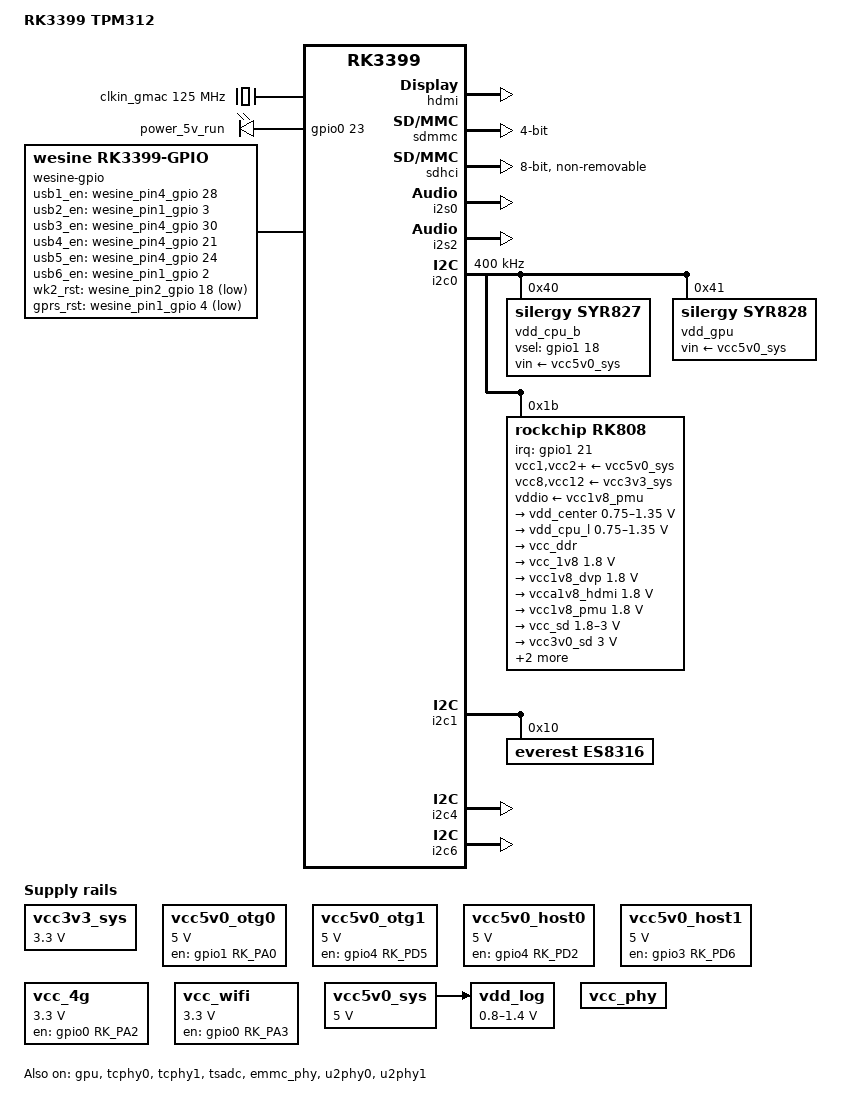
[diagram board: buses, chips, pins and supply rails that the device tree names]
/**
GPIOs 0-31, platform/pinctrl, gpio0:
 gpio-2   (                    |vcc_4g              ) out hi    
 gpio-3   (                    |vcc_wifi            ) out hi    
 gpio-5   (                    |power               ) in  hi    

GPIOs 32-63, platform/pinctrl, gpio1:
 gpio-32  (                    |vcc5v0_otg0         ) out hi    
 gpio-46  (                    |vsel                ) out lo    
 gpio-49  (                    |vsel                ) out lo    
 gpio-55  (                    |?                   ) out hi    

GPIOs 64-95, platform/pinctrl, gpio2:
 gpio-69  (                    |vcc_mipi            ) out hi    
 gpio-70  (                    |enable              ) out hi    

GPIOs 96-127, platform/pinctrl, gpio3:
 gpio-125 (                    |vcc5v0_sys          ) out hi    
 gpio-126 (                    |vcc5v0_host1        ) out hi    

GPIOs 128-159, platform/pinctrl, gpio4:
 gpio-153 (                    |?                   ) out lo    
 gpio-154 (                    |vcc5v0_host0        ) out hi    
 gpio-155 (                    |enable              ) out hi    
 gpio-157 (                    |vcc5v0_otg1         ) out hi
**/

/dts-v1/;
#include <dt-bindings/input/linux-event-codes.h>
#include <dt-bindings/pwm/pwm.h>
#include <dt-bindings/input/input.h>
#include <dt-bindings/interrupt-controller/irq.h>
#include "rk3399.dtsi"
#include "rk3399-opp.dtsi"

/ {
	model = "RK3399 TPM312";
	compatible = "rk3399,tpm312","rockchip,rk3399";

	aliases {
		ethernet0 = &gmac;
		mmc0 = &sdhci;
		mmc1 = &sdmmc;
	};

	chosen {
		bootargs = "earlycon=uart8250,mmio32,0xff1a0000 swiotlb=1";
		stdout-path = "serial2:1500000n8";
	};

	fiq_debugger: fiq-debugger {
		compatible = "rockchip,fiq-debugger";
		rockchip,serial-id = <2>;
		rockchip,wake-irq = <0>;
		rockchip,irq-mode-enable = <0>;  /* If enable uart uses irq instead of fiq */
		rockchip,baudrate = <1500000>;  /* Only 115200 and 1500000 */
		pinctrl-names = "default";
		pinctrl-0 = <&uart2c_xfer>;
		interrupts = <GIC_SPI 150 IRQ_TYPE_LEVEL_HIGH 0>;
	};

	vcc3v3_sys: vcc3v3-sys {
		compatible = "regulator-fixed";
		regulator-name = "vcc3v3_sys";
		regulator-always-on;
		regulator-boot-on;
		regulator-min-microvolt = <3300000>;
		regulator-max-microvolt = <3300000>;
	};

	vcc5v0_otg0: vcc5v0-otg0-regulator {
		compatible = "regulator-fixed";
		enable-active-high;
		gpio = <&gpio1 RK_PA0 GPIO_ACTIVE_HIGH>;
		pinctrl-names = "default";
		pinctrl-0 = <&otg0_vbus_drv>;
		regulator-name = "vcc5v0_otg0";
		regulator-always-on;
		regulator-min-microvolt = <5000000>;
		regulator-max-microvolt = <5000000>;
	};

	vcc5v0_otg1: vcc5v0-otg1-regulator {
		compatible = "regulator-fixed";
		enable-active-high;
		gpio = <&gpio4 RK_PD5 GPIO_ACTIVE_HIGH>;
		pinctrl-names = "default";
		pinctrl-0 = <&otg1_vbus_drv>;
		regulator-name = "vcc5v0_otg1";
		regulator-always-on;
		regulator-min-microvolt = <5000000>;
		regulator-max-microvolt = <5000000>;
	};

	vcc5v0_host0: vcc5v0-host0-regulator {
		compatible = "regulator-fixed";
		enable-active-high;
		gpio = <&gpio4 RK_PD2 GPIO_ACTIVE_HIGH>;
		pinctrl-names = "default";
		pinctrl-0 = <&host0_vbus_drv>;
		regulator-name = "vcc5v0_host0";
		regulator-always-on;
		regulator-min-microvolt = <5000000>;
		regulator-max-microvolt = <5000000>;
	};

	vcc5v0_host1: vcc5v0-host1-regulator {
		compatible = "regulator-fixed";
		enable-active-high;
		gpio = <&gpio3 RK_PD6 GPIO_ACTIVE_HIGH>;
		pinctrl-names = "default";
		pinctrl-0 = <&host1_vbus_drv>;
		regulator-name = "vcc5v0_host1";
		regulator-always-on;
		regulator-min-microvolt = <5000000>;
		regulator-max-microvolt = <5000000>;
	};

	vcc_4g: vcc-4g {
		compatible = "regulator-fixed";
		enable-active-high;
		gpio = <&gpio0 RK_PA2 GPIO_ACTIVE_HIGH>;
		pinctrl-names = "default";
		pinctrl-0 = <&vcc_4g_gpio>;
		regulator-name = "vcc_4g";
		regulator-always-on;
		regulator-boot-on;
		regulator-min-microvolt = <3300000>;
		regulator-max-microvolt = <3300000>;
	};

	vcc_wifi: vcc-wifi {
		compatible = "regulator-fixed";
		enable-active-high;
		gpio = <&gpio0 RK_PA3 GPIO_ACTIVE_HIGH>;
		pinctrl-names = "default";
		pinctrl-0 = <&wifi_pwr_gpio>;
		regulator-name = "vcc_wifi";
		regulator-always-on;
		regulator-min-microvolt = <3300000>;
		regulator-max-microvolt = <3300000>;
	};

	vcc5v0_sys: vcc5v0-sys {
		compatible = "regulator-fixed";
		regulator-name = "vcc5v0_sys";
		regulator-always-on;
		regulator-boot-on;
		regulator-min-microvolt = <5000000>;
		regulator-max-microvolt = <5000000>;
	};

	vcc_phy: vcc-phy-regulator {
		compatible = "regulator-fixed";
		regulator-name = "vcc_phy";
		regulator-always-on;
		regulator-boot-on;
	};

	vdd_log: vdd-log {
		compatible = "pwm-regulator";
		pwms = <&pwm2 0 25000 1>;
		regulator-name = "vdd_log";
		regulator-min-microvolt = <800000>;
		regulator-max-microvolt = <1400000>;
		regulator-always-on;
		regulator-boot-on;

		/* for rockchip boot on */
		rockchip,pwm_id= <2>;
		rockchip,pwm_voltage = <900000>;
		vin-supply = <&vcc5v0_sys>;
	};

	clkin_gmac: external-gmac-clock {
		compatible = "fixed-clock";
		clock-frequency = <125000000>;
		clock-output-names = "clkin_gmac";
		#clock-cells = <0>;
	};

	es8316-sound {
		compatible = "simple-audio-card";
		simple-audio-card,format = "i2s";
		simple-audio-card,name = "rockchip,es8316-codec";
		simple-audio-card,mclk-fs = <256>;
		simple-audio-card,widgets =
			"Microphone", "Mic Jack",
			"Headphone", "Headphone Jack";
		simple-audio-card,routing =
			"Mic Jack", "MICBIAS1",
			"IN1P", "Mic Jack",
			"Headphone Jack", "HPOL",
			"Headphone Jack", "HPOR";
		simple-audio-card,cpu {
			sound-dai = <&i2s0>;
		};
		simple-audio-card,codec {
			sound-dai = <&es8316>;
		};
	};

	hdmi_codec: hdmi-codec {
		compatible = "simple-audio-card";
		simple-audio-card,format = "i2s";
		simple-audio-card,mclk-fs = <256>;
		simple-audio-card,name = "HDMI-CODEC";

		simple-audio-card,cpu {
			sound-dai = <&i2s2>;
		};

		simple-audio-card,codec {
			sound-dai = <&hdmi>;
		};
	};

	leds {
		compatible = "gpio-leds";
		power5v-led {
			gpios = <&gpio0 23 GPIO_ACTIVE_HIGH>;
			default-state = "on";
			label = "power_5v_run";
		};
	};

	wesine-gpio {
		compatible = "wesine,rk3399-gpio";
		pinctrl-names = "default";
		pinctrl-0 = <&wesine_pin1_gpio &wesine_pin2_gpio &wesine_pin4_gpio>;
		usb1_en = <&wesine_pin4_gpio 28 GPIO_ACTIVE_HIGH>;
		usb2_en = <&wesine_pin1_gpio 3 GPIO_ACTIVE_HIGH>;
		usb3_en = <&wesine_pin4_gpio 30 GPIO_ACTIVE_HIGH>;
		usb4_en = <&wesine_pin4_gpio 21 GPIO_ACTIVE_HIGH>;
		usb5_en = <&wesine_pin4_gpio 24 GPIO_ACTIVE_HIGH>;
		usb6_en = <&wesine_pin1_gpio 2 GPIO_ACTIVE_HIGH>;
		wk2_rst = <&wesine_pin2_gpio 18 GPIO_ACTIVE_LOW>;
		gprs_rst = <&wesine_pin1_gpio 4 GPIO_ACTIVE_LOW>;
		status = "okay";
	};

};

&hdmi {
	#address-cells = <1>;
	#size-cells = <0>;
	#sound-dai-cells = <0>;
	status = "okay";
};

&sdmmc {
	max-frequency = <150000000>;
	supports-sd;
	bus-width = <4>;
	cap-mmc-highspeed;
	cap-sd-highspeed;
	disable-wp;
	num-slots = <1>;
	vqmmc-supply = <&vcc_sd>;
	pinctrl-names = "default";
	pinctrl-0 = <&sdmmc_clk &sdmmc_cmd &sdmmc_cd &sdmmc_bus4>;
	status = "okay";
};

&sdhci {
	bus-width = <8>;
	mmc-hs400-1_8v;
	mmc-hs400-enhanced-strobe;
	supports-emmc;
	non-removable;
	status = "okay";
};

&i2s0 {
	status = "okay";
	rockchip,i2s-broken-burst-len;
	rockchip,playback-channels = <8>;
	rockchip,capture-channels = <8>;
	#sound-dai-cells = <0>;
};

&i2s2 {
	status = "okay";
	#sound-dai-cells = <0>;
};

&i2c0 {
	status = "okay";
	i2c-scl-rising-time-ns = <168>;
	i2c-scl-falling-time-ns = <4>;
	clock-frequency = <400000>;

	vdd_cpu_b: syr827@40 {
		compatible = "silergy,syr827";
		reg = <0x40>;
		vin-supply = <&vcc5v0_sys>;
		regulator-compatible = "fan53555-reg";
		regulator-name = "vdd_cpu_b";
		regulator-min-microvolt = <712500>;
		regulator-max-microvolt = <1500000>;
		regulator-ramp-delay = <1000>;
		vsel-gpios = <&gpio1 18 GPIO_ACTIVE_HIGH>;
		fcs,suspend-voltage-selector = <1>;
		regulator-always-on;
		regulator-boot-on;
		regulator-initial-state = <3>;
			regulator-state-mem {
			regulator-off-in-suspend;
		};
	};

	vdd_gpu: syr828@41 {
		compatible = "silergy,syr828";
		reg = <0x41>;
		vin-supply = <&vcc5v0_sys>;
		regulator-compatible = "fan53555-reg";
		regulator-name = "vdd_gpu";
		regulator-min-microvolt = <712500>;
		regulator-max-microvolt = <1500000>;
		regulator-ramp-delay = <1000>;
		fcs,suspend-voltage-selector = <1>;
		regulator-always-on;
		regulator-boot-on;
		regulator-initial-state = <3>;
			regulator-state-mem {
			regulator-off-in-suspend;
		};
	};

	rk808: pmic@1b {
		compatible = "rockchip,rk808";
		reg = <0x1b>;
		interrupt-parent = <&gpio1>;
		interrupts = <21 IRQ_TYPE_LEVEL_LOW>;
		pinctrl-names = "default";
		pinctrl-0 = <&pmic_int_l>;
		rockchip,system-power-controller;
		wakeup-source;
		#clock-cells = <1>;
		clock-output-names = "xin32k", "rk808-clkout2";

		vcc1-supply = <&vcc5v0_sys>;
		vcc2-supply = <&vcc5v0_sys>;
		vcc3-supply = <&vcc5v0_sys>;
		vcc4-supply = <&vcc5v0_sys>;
		vcc6-supply = <&vcc5v0_sys>;
		vcc7-supply = <&vcc5v0_sys>;
		vcc8-supply = <&vcc3v3_sys>;
		vcc9-supply = <&vcc5v0_sys>;
		vcc10-supply = <&vcc5v0_sys>;
		vcc11-supply = <&vcc5v0_sys>;
		vcc12-supply = <&vcc3v3_sys>;
		vddio-supply = <&vcc1v8_pmu>;

		regulators {
			vdd_center: DCDC_REG1 {
				regulator-name = "vdd_center";
				regulator-min-microvolt = <750000>;
				regulator-max-microvolt = <1350000>;
				regulator-ramp-delay = <6001>;
				regulator-always-on;
				regulator-boot-on;
				regulator-state-mem {
					regulator-off-in-suspend;
				};
			};

			vdd_cpu_l: DCDC_REG2 {
				regulator-name = "vdd_cpu_l";
				regulator-min-microvolt = <750000>;
				regulator-max-microvolt = <1350000>;
				regulator-ramp-delay = <6001>;
				regulator-always-on;
				regulator-boot-on;
				regulator-state-mem {
					regulator-off-in-suspend;
				};
			};

			vcc_ddr: DCDC_REG3 {
				regulator-name = "vcc_ddr";
				regulator-always-on;
				regulator-boot-on;
				regulator-state-mem {
					regulator-on-in-suspend;
				};
			};

			vcc_1v8: DCDC_REG4 {
				regulator-name = "vcc_1v8";
				regulator-min-microvolt = <1800000>;
				regulator-max-microvolt = <1800000>;
				regulator-always-on;
				regulator-boot-on;
				regulator-state-mem {
					regulator-on-in-suspend;
					regulator-suspend-microvolt = <1800000>;
				};
			};

			vcc1v8_dvp: LDO_REG1 {
				regulator-name = "vcc1v8_codec";
				regulator-min-microvolt = <1800000>;
				regulator-max-microvolt = <1800000>;
				regulator-always-on;
				regulator-boot-on;
				regulator-state-mem {
					regulator-on-in-suspend;
					regulator-suspend-microvolt = <1800000>;
				};
			};

			vcca1v8_hdmi: LDO_REG2 {
				regulator-name = "vcca1v8_hdmi";
				regulator-min-microvolt = <1800000>;
				regulator-max-microvolt = <1800000>;
				regulator-always-on;
				regulator-boot-on;
				regulator-state-mem {
					regulator-on-in-suspend;
					regulator-suspend-microvolt = <1800000>;
				};
			};

			vcc1v8_pmu: LDO_REG3 {
				regulator-always-on;
				regulator-boot-on;
				regulator-min-microvolt = <1800000>;
				regulator-max-microvolt = <1800000>;
				regulator-name = "vcc1v8_pmu";
				regulator-state-mem {
					regulator-on-in-suspend;
					regulator-suspend-microvolt = <1800000>;
				};
			};

			vcc_sd: LDO_REG4 {
				regulator-name = "vcc_sd";
				regulator-min-microvolt = <1800000>;
				regulator-max-microvolt = <3000000>;
				regulator-always-on;
				regulator-boot-on;
				regulator-state-mem {
					regulator-on-in-suspend;
					regulator-suspend-microvolt = <3000000>;
				};
			};

			vcc3v0_sd: LDO_REG5 {
				regulator-name = "vcc3v0_sd";
				regulator-min-microvolt = <3000000>;
				regulator-max-microvolt = <3000000>;
				regulator-always-on;
				regulator-boot-on;
				regulator-state-mem {
					regulator-on-in-suspend;
					regulator-suspend-microvolt = <3000000>;
				};
			};

			vcc_1v5: LDO_REG6 {
				regulator-name = "vcc_1v5";
				regulator-min-microvolt = <1500000>;
				regulator-max-microvolt = <1500000>;
				regulator-always-on;
				regulator-boot-on;
				regulator-state-mem {
					regulator-on-in-suspend;
					regulator-suspend-microvolt = <1500000>;
				};
			};

			vcca0v9_hdmi: LDO_REG7 {
				regulator-name = "vcca0v9_hdmi";
				regulator-min-microvolt = <900000>;
				regulator-max-microvolt = <900000>;
				regulator-always-on;
				regulator-boot-on;
				regulator-state-mem {
					regulator-on-in-suspend;
					regulator-suspend-microvolt = <900000>;
				};
			};

			vcc_3v0: LDO_REG8 {
				regulator-name = "vcc_3v0";
				regulator-min-microvolt = <3000000>;
				regulator-max-microvolt = <3000000>;
				regulator-always-on;
				regulator-boot-on;
				regulator-state-mem {
					regulator-on-in-suspend;
					regulator-suspend-microvolt = <3000000>;
				};
			};

			vcc3v3_s3: SWITCH_REG1 {
				regulator-name = "vcc3v3_s3";
				regulator-always-on;
				regulator-boot-on;
				regulator-state-mem {
					regulator-on-in-suspend;
				};
			};

			vcc3v3_s0: SWITCH_REG2 {
				regulator-name = "vcc3v3_s0";
				regulator-always-on;
				regulator-boot-on;
				regulator-state-mem {
					regulator-on-in-suspend;
				};
			};
		};
	};
};

&i2c1 {
	status = "okay";
	i2c-scl-rising-time-ns = <300>;
	i2c-scl-falling-time-ns = <15>;

	es8316: es8316@10 {
		compatible = "everest,es8316";
		reg = <0x10>;
		clocks = <&cru SCLK_I2S_8CH_OUT>;
		clock-names = "mclk";
		pinctrl-names = "default";
		#sound-dai-cells = <0>;
	};

};

&i2c4 {
	status = "okay";
	i2c-scl-rising-time-ns = <600>;
	i2c-scl-falling-time-ns = <20>;

	mpu6050: mpu@68 {
	status = "disabled";
	compatible = "invensense,mpu6050";
	reg = <0x68>;
	mpu-int_config = <0x10>;
	mpu-level_shifter = <0>;
	mpu-orientation = <0 1 0 1 0 0 0 0 1>;
	orientation-x= <1>;
	orientation-y= <1>;
	orientation-z= <1>;
	irq-gpio = <&gpio1 10 IRQ_TYPE_LEVEL_LOW>;
	mpu-debug = <1>;
	};
};

&i2c6 {
	status = "okay";
};

&i2c8 {
	status = "disabled";
	//pinctrl-names = "default";
	//pinctrl-0 = <0x7e>;

	ilitek@41 {
			compatible = "tchip,ilitek";
			reg = <0x41>;
			vdd-supply = <0x7f>;
			vcc_i2c-supply = <0x34>;
			ilitek,irq-gpio = <0x30 18 GPIO_ACTIVE_HIGH>;
			ilitek,reset-gpio = <0x30 24 GPIO_ACTIVE_HIGH>;
			ilitek,vbus = "vcc_i2c";
			ilitek,vdd = "vdd";
			ilitek,name = "ilitek_i2c";
		};
};

&spi1 {
	status = "disabled";
	max-freq = <48000000>;
	dev-port = <0>;
	//pinctrl-0 = <&spi1m2_pins>;
	num-cs = <1>;

	spi_wk2xxx: spi_wk2xxx@00{
		status = "disabled";
		compatible = "wesine,wk2124spi";
		reg = <0x00>;
		poll_mode = <0x00>;
		type = <0x00>;
		enable_dma = <0x00>;
		spi-max-frequency = <10000000>;
		irq-gpio = <&gpio3 RK_PD4 IRQ_TYPE_EDGE_FALLING>;
		pinctrl-0 = <&wk2_irq>;
		pinctrl-names = "default";
	};
};

&cpu_l0 {
	cpu-supply = <&vdd_cpu_l>;
};

&cpu_l1 {
	cpu-supply = <&vdd_cpu_l>;
};

&cpu_l2 {
	cpu-supply = <&vdd_cpu_l>;
};

&cpu_l3 {
	cpu-supply = <&vdd_cpu_l>;
};

&cpu_b0 {
	cpu-supply = <&vdd_cpu_b>;
};

&cpu_b1 {
	cpu-supply = <&vdd_cpu_b>;
};

&gpu {
	status = "okay";
	mali-supply = <&vdd_gpu>;
};

&tcphy0 {
	status = "okay";
};

&tcphy1 {
	status = "okay";
};

&tsadc {
	/* tshut mode 0:CRU 1:GPIO */
	rockchip,hw-tshut-mode = <1>;
	/* tshut polarity 0:LOW 1:HIGH */
	rockchip,hw-tshut-polarity = <1>;
	status = "okay";
};

&emmc_phy {
	status = "okay";
};

&u2phy0 {
	status = "okay";
	enable-active-high;
	/* otg-vbus-gpios = <&gpio1 3 GPIO_ACTIVE_HIGH>;*/
	gpio = <&gpio1 3 GPIO_ACTIVE_HIGH>;

	u2phy0_otg: otg-port {
	    phy-supply = <&vcc5v0_otg0>;
		status = "okay";
	};

	u2phy0_host: host-port {
		phy-supply = <&vcc5v0_host0>;
		status = "okay";
	};
};

&u2phy1 {
	status = "okay";

	u2phy1_otg: otg-port {
	    phy-supply = <&vcc5v0_otg1>;
		status = "okay";
	};

	u2phy1_host: host-port {
		phy-supply = <&vcc5v0_host1>;
		status = "okay";
	};
};

&uart0 {
	pinctrl-names = "default";
	pinctrl-0 = <&uart0_xfer &uart0_cts &uart0_rts>;
	status = "disabled;
};

&uart1 {
	status = "disabled";
};

&uart2 {
	status = "disabled";
};

&usb_host0_ehci {
	status = "okay";
};

&usb_host0_ohci {
	status = "okay";
};

&usb_host1_ehci {
	status = "okay";
};

&usb_host1_ohci {
	status = "okay";
};

&usbdrd3_0 {
	extcon = <&u2phy0>;
	status = "okay";
};

&usbdrd_dwc3_0 {
	dr_mode = "otg";
	status = "okay";
};

&usbdrd3_1 {
	status = "okay";
};

&usbdrd_dwc3_1 {
	dr_mode = "host";
	status = "okay";
};

&pwm0 {
	status = "okay";
};

&pwm1 {
	status = "okay";
};

&pwm2 {
	status = "okay";
};

&pwm3 {
	status = "okay";
};

&gmac {
	status = "okay";
	assigned-clocks = <&cru SCLK_RMII_SRC>;
	assigned-clock-parents = <&clkin_gmac>;
	clock_in_out = "input";
	phy-supply = <&vcc_phy>;
	phy-mode = "rgmii";
	pinctrl-names = "default";
	pinctrl-0 = <&rgmii_pins>;
	pinctrl-1 = <&rgmii_sleep_pins>;
	snps,reset-gpio = <&gpio3 RK_PB7 GPIO_ACTIVE_LOW>;
	snps,reset-active-low;
	snps,reset-delays-us = <0 10000 50000>;
	tx_delay = <0x28>;
	rx_delay = <0x11>;
};

&saradc {
	status = "okay";
};

&io_domains {
	status = "okay";
	bt656-supply = <&vcc_3v0>; /* bt656_gpio2ab_ms */
	audio-supply = <&vcc_3v0>; /* audio_gpio3d4a_ms */
	sdmmc-supply = <&vcc_sd>; /* sdmmc_gpio4b_ms */
	gpio1830-supply = <&vcc_3v0>; /* gpio1833_gpio4cd_ms */
};

&pmu_io_domains {
	status = "okay";
	pmu1830-supply = <&vcc_3v0>;
};

&iep_mmu {
	status = "okay";
};

&rga {
	dev_mode = <0x01>;
	status = "okay";
};

&pinctrl {
	pmic {
		pmic_int_l: pmic-int-l {
			rockchip,pins = <1 21 RK_FUNC_GPIO &pcfg_pull_up>;
		};
		pmic_dvs2: pmic-dvs2 {
			rockchip,pins = <1 4 RK_FUNC_GPIO &pcfg_pull_down>;
		};
		vcc5sys_gpio: vcc5sys-gpio {
			rockchip,pins = <3 29 RK_FUNC_GPIO &pcfg_output_low>;
		};
		vcc_4g_gpio: vcc-4g-gpio {
			rockchip,pins = <0 2 RK_FUNC_GPIO &pcfg_pull_none>;
		};
	};
	u2phy0_otg {
		otg0_vbus_drv: otg0-vbus-drv {
			rockchip,pins = <1 0 RK_FUNC_GPIO &pcfg_pull_none>;
		};
	};
	u2phy1_otg {
		otg1_vbus_drv: otg1-vbus-drv {
				rockchip,pins = <4 29 RK_FUNC_GPIO &pcfg_pull_none>;
		};
	};
	u2phy0_host {
		host0_vbus_drv: host0-vbus-drv {
			rockchip,pins = <4 26 RK_FUNC_GPIO &pcfg_pull_none>;
		};
	};
	u2phy1_host {
		host1_vbus_drv: host1-vbus-drv {
			rockchip,pins = <3 30 RK_FUNC_GPIO &pcfg_pull_none>;
		};
	};
	wk2 {
		wk2_irq: wk2-irq {
			rockchip,pins = <3 28 RK_FUNC_GPIO &pcfg_pull_up>;
			};
	};
	wesine_gpio {
		wesine_pin1_gpio: wesine-pin1-gpio {
			rockchip,pins = <1 3 RK_FUNC_GPIO &pcfg_pull_none>,
			    <1 2 RK_FUNC_GPIO &pcfg_pull_none>,
			    <1 4 RK_FUNC_GPIO &pcfg_pull_none>;
		};
		wesine_pin2_gpio:wesine-pin2-gpio {
			rockchip,pins = <2 18 RK_FUNC_GPIO &pcfg_pull_none>;
		};
		wesine_pin4_gpio: wesine-pin4-gpio {
			rockchip,pins = <4 28 RK_FUNC_GPIO &pcfg_pull_none>,
			    <4 30 RK_FUNC_GPIO &pcfg_pull_none>,
			    <4 21 RK_FUNC_GPIO &pcfg_pull_none>,
			    <4 24 RK_FUNC_GPIO &pcfg_pull_none>;
		};
	};
	wireless_wlan {
		wifi_pwr_gpio: wifi-pwr-gpio {
			rockchip,pins = <0 3 RK_FUNC_GPIO &pcfg_pull_none>;
			};
	};
	gmac {
		rgmii_sleep_pins: rgmii-sleep-pins {
			rockchip,pins = <3 RK_PB7 RK_FUNC_GPIO &pcfg_output_low>;
		};
	};
};

&vopb {
	status = "okay";
};

&vopb_mmu {
	status = "okay";
};

&vopl {
	status = "okay";
};

&vopl_mmu {
	status = "okay";
};

&vpu {
	status = "okay";
};
